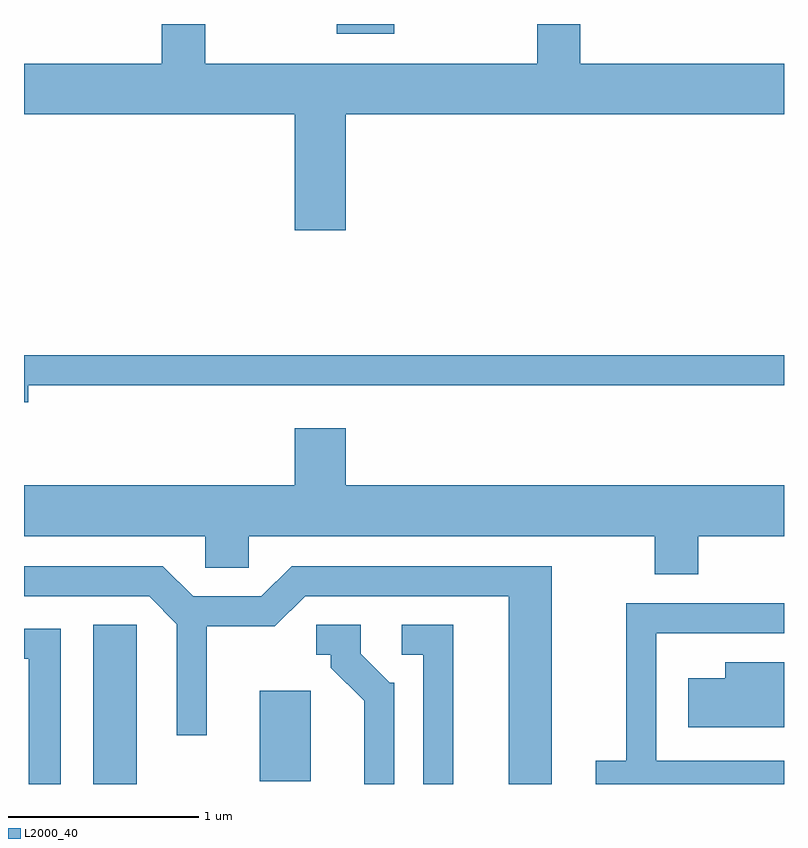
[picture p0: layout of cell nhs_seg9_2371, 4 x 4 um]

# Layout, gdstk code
import gdstk
lib = gdstk.Library(unit=1e-6, precision=1e-09)
def R(c, l, rs):  # rectangles x0, y0, x1, y1
    for r in rs: c.add(gdstk.rectangle(r[:2], r[2:], *l))
def P(c, l, *ps):  # polygons
    for p in ps: c.add(gdstk.Polygon(p, *l))
L2000_40 = (2000, 40)

nhs_seg9_2371 = lib.new_cell('nhs_seg9_2371')
R(nhs_seg9_2371, L2000_40, [(253.976,2070.432,254.204,2071.269), (254.851,2070.446,255.119,2070.924), (255.256,2074.381,255.559,2074.432)])
P(nhs_seg9_2371, L2000_40, [(255.304,2073.956),(257.611,2073.956),(257.611,2074.224),(256.539,2074.224),(256.539,2074.432),(256.311,2074.432),(256.311,2074.224),(254.564,2074.224),(254.564,2074.432),(254.336,2074.432),(254.336,2074.224),(253.611,2074.224),(253.611,2073.956),(255.036,2073.956),(255.036,2073.346),(255.304,2073.346)],
  [(253.634,2072.531),(257.611,2072.531),(257.611,2072.689),(253.611,2072.689),(253.611,2072.441),(253.634,2072.441)],
  [(257.159,2071.736),(257.611,2071.736),(257.611,2072.004),(255.304,2072.004),(255.304,2072.304),(255.036,2072.304),(255.036,2072.004),(253.611,2072.004),(253.611,2071.736),(254.566,2071.736),(254.566,2071.571),(254.794,2071.571),(254.794,2071.736),(256.931,2071.736),(256.931,2071.536),(257.159,2071.536)],
  [(256.389,2071.579),(255.019,2071.579),(254.859,2071.419),(254.502,2071.419),(254.342,2071.579),(253.611,2071.579),(253.611,2071.421),(254.269,2071.421),(254.416,2071.274),(254.416,2070.688),(254.574,2070.688),(254.574,2071.261),(254.932,2071.261),(255.092,2071.421),(256.161,2071.421),(256.161,2070.432),(256.389,2070.432)],
  [(257.611,2070.554),(256.939,2070.554),(256.939,2071.226),(257.611,2071.226),(257.611,2071.384),(256.781,2071.384),(256.781,2070.554),(256.621,2070.554),(256.621,2070.432),(257.611,2070.432)],
  [(255.869,2071.269),(255.598,2071.269),(255.598,2071.111),(255.711,2071.111),(255.711,2070.432),(255.869,2070.432)],
  [(255.559,2070.964),(255.537,2070.964),(255.384,2071.117),(255.384,2071.269),(255.148,2071.269),(255.148,2071.111),(255.226,2071.111),(255.226,2071.044),(255.401,2070.869),(255.401,2070.432),(255.559,2070.432)],
  [(253.804,2071.249),(253.611,2071.249),(253.611,2071.091),(253.636,2071.091),(253.636,2070.432),(253.804,2070.432)],
  [(257.611,2071.074),(257.301,2071.074),(257.301,2070.989),(257.106,2070.989),(257.106,2070.731),(257.611,2070.731)])

lib.write_gds('nhs_seg9_2371.gds')
